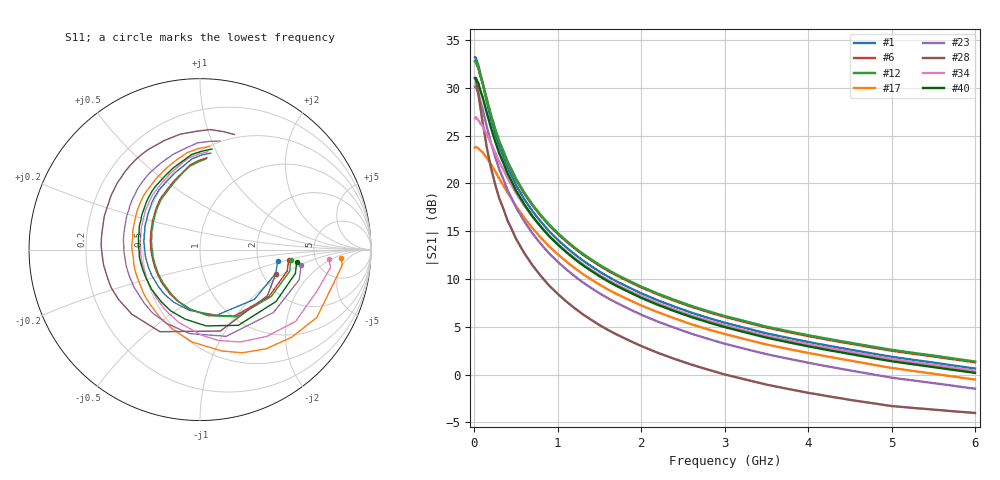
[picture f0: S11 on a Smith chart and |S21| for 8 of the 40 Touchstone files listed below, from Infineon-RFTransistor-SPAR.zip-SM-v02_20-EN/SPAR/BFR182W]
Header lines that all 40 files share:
! Infineon Technologies  Discrete & RF Semiconductors
! BFR182W
! Common Emitter S-Parameters:  Jan 2017
# GHz  S  MA  R  50
!  f  S11  S21  S12  S22
! GHz  MAG  ANG  MAG  ANG  MAG  ANG  MAG  ANG
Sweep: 10 MHz to 6 GHz
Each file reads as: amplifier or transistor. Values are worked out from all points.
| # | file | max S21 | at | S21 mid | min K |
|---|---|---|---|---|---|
| 1 | BFR182W_VCE_6.0V_IC_35mA.s2p | 33.2 dB | 10 MHz | 7.8 dB at 2.2 GHz | 0.22 |
| 2 | BFR182W_VCE_6.0V_IC_37mA.s2p | 33.3 dB | 10 MHz | 7.6 dB at 2.2 GHz | 0.19 |
| 3 | BFR182W_VCE_6.0V_IC_38mA.s2p | 33.3 dB | 10 MHz | 7.4 dB at 2.2 GHz | 0.14 |
| 4 | BFR182W_VCE_6.0V_IC_40mA.s2p | 33.3 dB | 20 MHz | 7.2 dB at 2.2 GHz | 0.26 |
| 5 | BFR182W_VCE_7.0V_IC_27mA.s2p | 32.7 dB | 20 MHz | 8.4 dB at 2.2 GHz | 0.03 |
| 6 | BFR182W_VCE_7.0V_IC_28mA.s2p | 32.8 dB | 10 MHz | 8.4 dB at 2.2 GHz | 0.14 |
| 7 | BFR182W_VCE_7.0V_IC_30mA.s2p | 33.0 dB | 20 MHz | 8.3 dB at 2.2 GHz | 0.12 |
| 8 | BFR182W_VCE_7.0V_IC_32mA.s2p | 33.1 dB | 20 MHz | 8.2 dB at 2.2 GHz | 0.14 |
| 9 | BFR182W_VCE_7.0V_IC_33mA.s2p | 33.2 dB | 10 MHz | 8.1 dB at 2.2 GHz | 0.09 |
| 10 | BFR182W_VCE_7.0V_IC_35mA.s2p | 33.3 dB | 20 MHz | 8.0 dB at 2.2 GHz | 0.10 |
| 11 | BFR182W_VCE_8.0V_IC_27mA.s2p | 32.7 dB | 10 MHz | 8.5 dB at 2.2 GHz | 0.21 |
| 12 | BFR182W_VCE_8.0V_IC_28mA.s2p | 32.8 dB | 20 MHz | 8.5 dB at 2.2 GHz | 0.11 |
| 13 | BFR182W_VCE_8.0V_IC_30mA.s2p | 33.0 dB | 10 MHz | 8.4 dB at 2.2 GHz | 0.12 |
| 14 | BFR182W_VCE_9.0V_IC_27mA.s2p | 32.7 dB | 20 MHz | 8.6 dB at 2.2 GHz | 0.10 |
| 15 | BFR182W_w_noise_VCE_1.0V_IC_2.0mA.s2p | 17.0 dB | 20 MHz | 4.9 dB at 2.2 GHz | -0.11 |
| 16 | BFR182W_w_noise_VCE_1.0V_IC_3.0mA.s2p | 20.1 dB | 20 MHz | 5.8 dB at 2.2 GHz | -0.13 |
| 17 | BFR182W_w_noise_VCE_1.0V_IC_5.0mA.s2p | 23.8 dB | 20 MHz | 6.5 dB at 2.2 GHz | 0.00 |
| 18 | BFR182W_w_noise_VCE_1.0V_IC_7.0mA.s2p | 26.1 dB | 20 MHz | 6.8 dB at 2.2 GHz | 0.03 |
| 19 | BFR182W_w_noise_VCE_1.0V_IC_8.0mA.s2p | 27.0 dB | 20 MHz | 6.8 dB at 2.2 GHz | -0.06 |
| 20 | BFR182W_w_noise_VCE_1.0V_IC_10mA.s2p | 28.2 dB | 20 MHz | 6.7 dB at 2.2 GHz | 0.01 |
| 21 | BFR182W_w_noise_VCE_1.0V_IC_12mA.s2p | 29.2 dB | 20 MHz | 6.4 dB at 2.2 GHz | 0.05 |
| 22 | BFR182W_w_noise_VCE_1.0V_IC_13mA.s2p | 29.6 dB | 20 MHz | 6.2 dB at 2.2 GHz | 0.13 |
| 23 | BFR182W_w_noise_VCE_1.0V_IC_15mA.s2p | 30.2 dB | 20 MHz | 5.5 dB at 2.2 GHz | 0.12 |
| 24 | BFR182W_w_noise_VCE_1.0V_IC_17mA.s2p | 30.5 dB | 20 MHz | 4.7 dB at 2.2 GHz | 0.19 |
| 25 | BFR182W_w_noise_VCE_1.0V_IC_18mA.s2p | 30.7 dB | 20 MHz | 4.3 dB at 2.2 GHz | 0.27 |
| 26 | BFR182W_w_noise_VCE_1.0V_IC_20mA.s2p | 30.8 dB | 10 MHz | 3.4 dB at 2.2 GHz | 0.31 |
| 27 | BFR182W_w_noise_VCE_1.0V_IC_22mA.s2p | 31.0 dB | 10 MHz | 2.6 dB at 2.2 GHz | 0.36 |
| 28 | BFR182W_w_noise_VCE_1.0V_IC_23mA.s2p | 31.0 dB | 10 MHz | 2.3 dB at 2.2 GHz | 0.39 |
| 29 | BFR182W_w_noise_VCE_1.0V_IC_25mA.s2p | 31.0 dB | 10 MHz | 1.6 dB at 2.2 GHz | 0.41 |
| 30 | BFR182W_w_noise_VCE_2.0V_IC_2.0mA.s2p | 16.8 dB | 20 MHz | 5.2 dB at 2.2 GHz | 0.00 |
| 31 | BFR182W_w_noise_VCE_2.0V_IC_3.0mA.s2p | 20.0 dB | 20 MHz | 6.2 dB at 2.2 GHz | -0.09 |
| 32 | BFR182W_w_noise_VCE_2.0V_IC_5.0mA.s2p | 23.7 dB | 20 MHz | 7.0 dB at 2.2 GHz | -0.02 |
| 33 | BFR182W_w_noise_VCE_2.0V_IC_7.0mA.s2p | 26.1 dB | 20 MHz | 7.4 dB at 2.2 GHz | -0.07 |
| 34 | BFR182W_w_noise_VCE_2.0V_IC_8.0mA.s2p | 26.9 dB | 20 MHz | 7.5 dB at 2.2 GHz | 0.00 |
| 35 | BFR182W_w_noise_VCE_2.0V_IC_10mA.s2p | 28.2 dB | 20 MHz | 7.6 dB at 2.2 GHz | 0.01 |
| 36 | BFR182W_w_noise_VCE_2.0V_IC_12mA.s2p | 29.3 dB | 20 MHz | 7.6 dB at 2.2 GHz | 0.03 |
| 37 | BFR182W_w_noise_VCE_2.0V_IC_13mA.s2p | 29.6 dB | 20 MHz | 7.6 dB at 2.2 GHz | 0.03 |
| 38 | BFR182W_w_noise_VCE_2.0V_IC_15mA.s2p | 30.3 dB | 20 MHz | 7.5 dB at 2.2 GHz | 0.08 |
| 39 | BFR182W_w_noise_VCE_2.0V_IC_17mA.s2p | 30.8 dB | 20 MHz | 7.4 dB at 2.2 GHz | 0.06 |
| 40 | BFR182W_w_noise_VCE_2.0V_IC_18mA.s2p | 31.0 dB | 20 MHz | 7.3 dB at 2.2 GHz | 0.11 |

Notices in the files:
Hoja de datos/BFP 450/Infineon-RFTransistor-SPAR.zip-SM-v02_20-EN/SPAR/BFR182W/BFR182W_VCE_6.0V_IC_35mA.s2p:
(c) 2017  Infineon Technologies AG, Munich
